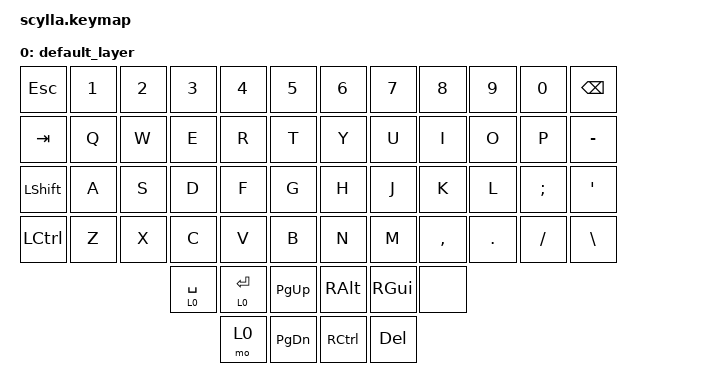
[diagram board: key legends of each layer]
#include <behaviors.dtsi>
#include <dt-bindings/zmk/keys.h>

#define DEFAULT 0
#define LWR 1
#define RSE 2
#define ADJ 3

/ {
    combos {
        compatible = "zmk,combos";

        combo5 {
            bindings = <&kp LEFT_BRACE>;
            key-positions = <39 40>;
        };

        combo6 {
            bindings = <&kp RIGHT_BRACE>;
            key-positions = <43 44>;
        };

        combo7 {
            bindings = <&kp BACKSLASH>;
            key-positions = <17 18>;
        };

        combo8 {
            bindings = <&kp PIPE>;
            key-positions = <29 30>;
        };

        combo9 {
            bindings = <&kp ESC>;
            key-positions = <13 14>;
        };

        combo10 {
            bindings = <&kp TAB>;
            key-positions = <25 26>;
        };
    };

    keymap {
        compatible = "zmk,keymap";

        default_layer {
            bindings = <
&kp ESC     &kp N1  &kp N2  &kp N3       &kp N4       &kp N5           &kp N6         &kp N7         &kp N8     &kp N9   &kp N0    &kp BSPC
&kp TAB     &kp Q   &kp W   &kp E        &kp R        &kp T            &kp Y          &kp U          &kp I      &kp O    &kp P     &kp MINUS
&kp LSHIFT  &kp A   &kp S   &kp D        &kp F        &kp G            &kp H          &kp J          &kp K      &kp L    &kp SEMI  &kp SQT
&kp LCTRL   &kp Z   &kp X   &kp C        &kp V        &kp B            &kp N          &kp M          &kp COMMA  &kp DOT  &kp FSLH  &kp BSLH
                            &lt 0 SPACE  &lt 0 ENTER  &kp PAGE_UP      &kp RIGHT_ALT  &kp RIGHT_GUI  &none
                                         &mo 0        &kp PAGE_DOWN    &kp RCTRL      &kp DEL
            >;
        };
    };
};
